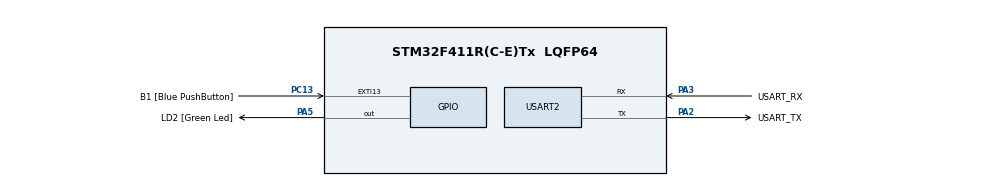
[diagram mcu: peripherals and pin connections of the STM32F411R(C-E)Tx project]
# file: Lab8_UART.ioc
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Mcu.Family=STM32F4
PC15-OSC32_OUT.Mode=LSE-External-Oscillator
RCC.CortexFreq_Value=84000000
PC13-ANTI_TAMP.GPIO_Label=B1 [Blue PushButton]
PA14.GPIO_Label=TCK
PH1\ -\ OSC_OUT.Mode=HSE-External-Clock-Source
RCC.APB1CLKDivider=RCC_HCLK_DIV2
PC14-OSC32_IN.Signal=RCC_OSC32_IN
NVIC.USART2_IRQn=true\:0\:0\:false\:false\:true\:true\:true
RCC.SYSCLKSource=RCC_SYSCLKSOURCE_PLLCLK
ProjectManager.StackSize=0x400
PA13.Signal=SYS_JTMS-SWDIO
PA3.Mode=Asynchronous
PH0\ -\ OSC_IN.Mode=HSE-External-Clock-Source
PH0\ -\ OSC_IN.Signal=RCC_OSC_IN
ProjectManager.TargetToolchain=STM32CubeIDE
RCC.HCLKFreq_Value=84000000
RCC.APB2TimFreq_Value=84000000
PC15-OSC32_OUT.Signal=RCC_OSC32_OUT
RCC.AHBFreq_Value=84000000
PA5.Signal=GPIO_Output
RCC.HSE_VALUE=8000000
PH1\ -\ OSC_OUT.Signal=RCC_OSC_OUT
board=NUCLEO-F411RE
PC13-ANTI_TAMP.Signal=GPXTI13
RCC.VCOOutputFreq_Value=336000000
RCC.APB2Freq_Value=84000000
PC14-OSC32_IN.Mode=LSE-External-Oscillator
PA14.Mode=Serial_Wire
PA13.Mode=Serial_Wire
Mcu.Name=STM32F411R(C-E)Tx
PA2.Signal=USART2_TX
PA13.GPIO_Label=TMS
RCC.FLatency-AdvancedSettings=FLASH_LATENCY_2
RCC.48MHZClocksFreq_Value=84000000
PB3.Signal=SYS_JTDO-SWO
RCC.SYSCLKFreq_VALUE=84000000
Mcu.Package=LQFP64
PA5.GPIO_Label=LD2 [Green Led]
USART2.VirtualMode=VM_ASYNC
PC13-ANTI_TAMP.GPIO_ModeDefaultEXTI=GPIO_MODE_IT_FALLING
PA2.GPIO_Label=USART_TX
PA14.Signal=SYS_JTCK-SWCLK
ProjectManager.HeapSize=0x200
RCC.HSI_VALUE=16000000
RCC.PLLP=RCC_PLLP_DIV4
NVIC.PriorityGroup=NVIC_PRIORITYGROUP_0
RCC.PLLN=336
RCC.APB1TimFreq_Value=84000000
PA2.Mode=Asynchronous
RCC.APB1Freq_Value=42000000
PA3.GPIO_Label=USART_RX
PA3.Signal=USART2_RX
PB3.GPIO_Label=SWO

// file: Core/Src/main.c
/* USER CODE BEGIN Header */
/**
 ******************************************************************************
 * @file           : main.c
 * @brief          : Main program body
 ******************************************************************************
 * @attention
 *
 * <h2><center>&copy; Copyright (c) 2021 STMicroelectronics.
 * All rights reserved.</center></h2>
 *
 * This software component is licensed by ST under BSD 3-Clause license,
 * the "License"; You may not use this file except in compliance with the
 * License. You may obtain a copy of the License at:
 *                        opensource.org/licenses/BSD-3-Clause
 *
 ******************************************************************************
 */
/* USER CODE END Header */
#include "main.h"

/* USER CODE BEGIN Includes */
#include <stdio.h>
#include <string.h>
/* USER CODE END Includes */

UART_HandleTypeDef huart2;

/* USER CODE BEGIN PV */
char TxDataBuffer[32] = { 0 };
char RxDataBuffer[32] = { 0 };
typedef enum {
	Start 		= 0,
	wait 		= 9,
	Mode0 		= 10,
	wait0 		= 19,
	Mode1 		= 20,
	wait1 		= 29,
	SpeedUp 	= 11,
	SpeedDown 	= 12,
	TurnSwitch  = 13
} Mode;

uint8_t ButtonState[2] 	 	= {0};
uint8_t ButtonIsPress[2]	= {0};
int LEDfrequency 			= 1;
uint8_t LEDIsOn 			= 0;
uint32_t LEDTimestamp 		= 0;

/* USER CODE END PV */

void SystemClock_Config(void);
static void MX_GPIO_Init(void);
static void MX_USART2_UART_Init(void);
/* USER CODE BEGIN PFP */
void UARTRecieveAndResponsePolling();
int16_t UARTRecieveIT();
/* USER CODE END PFP */

int main(void) {

	/* MCU Configuration--------------------------------------------------------*/

	/* Reset of all peripherals, Initializes the Flash interface and the Systick. */
	HAL_Init();

	/* Configure the system clock */
	SystemClock_Config();

	/* Initialize all configured peripherals */
	MX_GPIO_Init();
	MX_USART2_UART_Init();
	/* USER CODE BEGIN 2 */
	{ // for local parameter --> more memoriesa
//		char temp[] = "HELLO WORLD\r\n please type something to test UART\r\n";
//		HAL_UART_Transmit(&huart2, (uint8_t*) temp, strlen(temp), 1000);
	}
	int State = Start;
//	printf("Start");
	/* USER CODE END 2 */

	/* Infinite loop */
	/* USER CODE BEGIN WHILE */
	while (1) {
		HAL_UART_Receive_IT(&huart2, (uint8_t*) RxDataBuffer, 32);

		/*Method 2 W/ 1 Char Received*/
		int16_t inputchar = UARTRecieveIT();
		if (inputchar != -1) {

			sprintf(TxDataBuffer, "ReceivedChar:[%c]\r\n", inputchar);
			HAL_UART_Transmit(&huart2, (uint8_t*) TxDataBuffer,strlen(TxDataBuffer), 1000);
		}// for check by looking at monitor

//----------------------------------------- Display LED ------------------------------------------------
		if(LEDIsOn == 0 || LEDfrequency <= 0){
			HAL_GPIO_WritePin(LD2_GPIO_Port, LD2_Pin, 0);
		}
		else{
			if(HAL_GetTick() - LEDTimestamp >= (500/LEDfrequency)){
				LEDTimestamp = HAL_GetTick();
				HAL_GPIO_TogglePin(LD2_GPIO_Port, LD2_Pin);
			}
		}
//----------------------------------------- Display Button State ---------------------------------------
		ButtonState[0] = HAL_GPIO_ReadPin(B1_GPIO_Port, B1_Pin);
		if(ButtonState[0] == 1 && ButtonState[1] == 1)
		{
			ButtonIsPress[0] = 1;
		}
		else
		{
			ButtonIsPress[0] = 0;
		}
//--------------------------------------------- Home page ---------------------------------------------
		switch(State){
			case Start:
				sprintf(TxDataBuffer, "----Home Page----\n\r");
				HAL_UART_Transmit(&huart2, (uint8_t*) TxDataBuffer,strlen(TxDataBuffer), 100);
				sprintf(TxDataBuffer, "Press 0: control LED \n\r");
				HAL_UART_Transmit(&huart2, (uint8_t*) TxDataBuffer,strlen(TxDataBuffer), 100);
				sprintf(TxDataBuffer, "Press 1: button status \n\n\r");
				HAL_UART_Transmit(&huart2, (uint8_t*) TxDataBuffer,strlen(TxDataBuffer), 100);
				State = wait;
				break;
			case wait:
				switch(inputchar){
				case -1:
					break;
				case '0':
					State = Mode0;
					break;
				case '1':
					State = Mode1;
					break;
				default:
					sprintf(TxDataBuffer, "press only [0] or [1] \n\n\r");
					HAL_UART_Transmit(&huart2, (uint8_t*) TxDataBuffer,strlen(TxDataBuffer), 100);
					State = wait;
					break;
				}
				break;
//--------------------------------------------- LED Control ---------------------------------------------
			case Mode0:
				sprintf(TxDataBuffer, "Mode0: LEDControl\n\r");
				HAL_UART_Transmit(&huart2, (uint8_t*) TxDataBuffer,strlen(TxDataBuffer), 100);
				sprintf(TxDataBuffer, "Press a: +1 Hz \n\r");
				HAL_UART_Transmit(&huart2, (uint8_t*) TxDataBuffer,strlen(TxDataBuffer), 100);
				sprintf(TxDataBuffer, "Press s: -1 Hz \n\r");
				HAL_UART_Transmit(&huart2, (uint8_t*) TxDataBuffer,strlen(TxDataBuffer), 100);
				sprintf(TxDataBuffer, "Press d: turn on-off LED \n\r");
				HAL_UART_Transmit(&huart2, (uint8_t*) TxDataBuffer,strlen(TxDataBuffer), 100);
				sprintf(TxDataBuffer, "Press x: back to home page \n\n\r");
				HAL_UART_Transmit(&huart2, (uint8_t*) TxDataBuffer,strlen(TxDataBuffer), 100);
				State = wait0;
				break;
			case wait0:
				switch(inputchar){
					case -1:
						break;
					case 'a':
						LEDfrequency += 1;
						sprintf(TxDataBuffer, "LED blink at %d Hz\r\n\n", LEDfrequency);
						HAL_UART_Transmit(&huart2, (uint8_t*) TxDataBuffer,strlen(TxDataBuffer), 1000);
						break;
					case 's':
						LEDfrequency -= 1;
						if(LEDfrequency < 0){
							sprintf(TxDataBuffer, "LED off already, please press [a] to increase frequency\r\n\n", LEDfrequency);
							HAL_UART_Transmit(&huart2, (uint8_t*) TxDataBuffer,strlen(TxDataBuffer), 1000);
							LEDfrequency = 0;
						}
						else{
							sprintf(TxDataBuffer, "LED blink at %d Hz\r\n\n", LEDfrequency);
							HAL_UART_Transmit(&huart2, (uint8_t*) TxDataBuffer,strlen(TxDataBuffer), 1000);
						}
						break;
					case 'd':
						if(LEDIsOn == 1){
							LEDIsOn = 0;
							sprintf(TxDataBuffer, "(turn off)LED blink at 0 Hz\r\n\n");
							HAL_UART_Transmit(&huart2, (uint8_t*) TxDataBuffer,strlen(TxDataBuffer), 1000);
						}
						else{
							LEDIsOn = 1;
							sprintf(TxDataBuffer, "(turn on)LED blink at %d Hz\r\n\n", LEDfrequency);
							HAL_UART_Transmit(&huart2, (uint8_t*) TxDataBuffer,strlen(TxDataBuffer), 1000);
						}

						break;
					case 'x':
						State = Start;
						break;
					default:
						sprintf(TxDataBuffer, "press only [a],[s],[d] or [x] \n\n\r");
						HAL_UART_Transmit(&huart2, (uint8_t*) TxDataBuffer,strlen(TxDataBuffer), 100);
						State = wait0;
						break;
					}
				break;
//--------------------------------------------- Button Status ---------------------------------------------
			case Mode1:
				sprintf(TxDataBuffer, "Mode1: ButtonStatus\n\r");
				HAL_UART_Transmit(&huart2, (uint8_t*) TxDataBuffer,strlen(TxDataBuffer), 100);
				sprintf(TxDataBuffer, "Press blue button on board: Change status \n\r");
				HAL_UART_Transmit(&huart2, (uint8_t*) TxDataBuffer,strlen(TxDataBuffer), 100);
				sprintf(TxDataBuffer, "Press x: back to home page \n\n\r");
				HAL_UART_Transmit(&huart2, (uint8_t*) TxDataBuffer,strlen(TxDataBuffer), 100);
				State = wait1;
				break;
			case wait1:
				if(ButtonIsPress[0] != ButtonIsPress[1])
				{
					if(ButtonIsPress[0] == 0)
					{
						sprintf(TxDataBuffer, "Yep, Button is pressed \n\n\r");
						HAL_UART_Transmit(&huart2, (uint8_t*) TxDataBuffer,strlen(TxDataBuffer), 100);
					}
					else
					{
						sprintf(TxDataBuffer, "Nope, Button is not pressed \n\n\r");
						HAL_UART_Transmit(&huart2, (uint8_t*) TxDataBuffer,strlen(TxDataBuffer), 100);
					}
				}
				switch(inputchar){
					case -1:
						break;
					case 'x':
						State = Start;
						break;
					default:
						sprintf(TxDataBuffer, "press only [x]\n\n\r");
						HAL_UART_Transmit(&huart2, (uint8_t*) TxDataBuffer,strlen(TxDataBuffer), 100);
						State = wait1;
						break;
					}
				break;
			default:
				State = Start;
			break;
		}
		ButtonIsPress[1] = ButtonIsPress[0];
		ButtonState[1] = ButtonState[0];
	}
		/* USER CODE END WHILE */

}

void SystemClock_Config(void) {
RCC_OscInitTypeDef RCC_OscInitStruct = { 0 };
RCC_ClkInitTypeDef RCC_ClkInitStruct = { 0 };

/** Configure the main internal regulator output voltage
 */
__HAL_RCC_PWR_CLK_ENABLE();
__HAL_PWR_VOLTAGESCALING_CONFIG(PWR_REGULATOR_VOLTAGE_SCALE1);
/** Initializes the RCC Oscillators according to the specified parameters
 * in the RCC_OscInitTypeDef structure.
 */
RCC_OscInitStruct.OscillatorType = RCC_OSCILLATORTYPE_HSI;
RCC_OscInitStruct.HSIState = RCC_HSI_ON;
RCC_OscInitStruct.HSICalibrationValue = RCC_HSICALIBRATION_DEFAULT;
RCC_OscInitStruct.PLL.PLLState = RCC_PLL_ON;
RCC_OscInitStruct.PLL.PLLSource = RCC_PLLSOURCE_HSI;
RCC_OscInitStruct.PLL.PLLM = 16;
RCC_OscInitStruct.PLL.PLLN = 336;
RCC_OscInitStruct.PLL.PLLP = RCC_PLLP_DIV4;
RCC_OscInitStruct.PLL.PLLQ = 4;
if (HAL_RCC_OscConfig(&RCC_OscInitStruct) != HAL_OK) {
	Error_Handler();
}
/** Initializes the CPU, AHB and APB buses clocks
 */
RCC_ClkInitStruct.ClockType = RCC_CLOCKTYPE_HCLK | RCC_CLOCKTYPE_SYSCLK
		| RCC_CLOCKTYPE_PCLK1 | RCC_CLOCKTYPE_PCLK2;
RCC_ClkInitStruct.SYSCLKSource = RCC_SYSCLKSOURCE_PLLCLK;
RCC_ClkInitStruct.AHBCLKDivider = RCC_SYSCLK_DIV1;
RCC_ClkInitStruct.APB1CLKDivider = RCC_HCLK_DIV2;
RCC_ClkInitStruct.APB2CLKDivider = RCC_HCLK_DIV1;

if (HAL_RCC_ClockConfig(&RCC_ClkInitStruct, FLASH_LATENCY_2) != HAL_OK) {
	Error_Handler();
}
}

static void MX_USART2_UART_Init(void) {

huart2.Instance = USART2;
huart2.Init.BaudRate = 115200;
huart2.Init.WordLength = UART_WORDLENGTH_8B;
huart2.Init.StopBits = UART_STOPBITS_1;
huart2.Init.Parity = UART_PARITY_NONE;
huart2.Init.Mode = UART_MODE_TX_RX;
huart2.Init.HwFlowCtl = UART_HWCONTROL_NONE;
huart2.Init.OverSampling = UART_OVERSAMPLING_16;
if (HAL_UART_Init(&huart2) != HAL_OK) {
	Error_Handler();
}

}

static void MX_GPIO_Init(void) {
GPIO_InitTypeDef GPIO_InitStruct = { 0 };

/* GPIO Ports Clock Enable */
__HAL_RCC_GPIOC_CLK_ENABLE();
__HAL_RCC_GPIOH_CLK_ENABLE();
__HAL_RCC_GPIOA_CLK_ENABLE();
__HAL_RCC_GPIOB_CLK_ENABLE();

/*Configure GPIO pin Output Level */
HAL_GPIO_WritePin(LD2_GPIO_Port, LD2_Pin, GPIO_PIN_RESET);

/*Configure GPIO pin : B1_Pin */
GPIO_InitStruct.Pin = B1_Pin;
GPIO_InitStruct.Mode = GPIO_MODE_IT_FALLING;
GPIO_InitStruct.Pull = GPIO_NOPULL;
HAL_GPIO_Init(B1_GPIO_Port, &GPIO_InitStruct);

/*Configure GPIO pin : LD2_Pin */
GPIO_InitStruct.Pin = LD2_Pin;
GPIO_InitStruct.Mode = GPIO_MODE_OUTPUT_PP;
GPIO_InitStruct.Pull = GPIO_NOPULL;
GPIO_InitStruct.Speed = GPIO_SPEED_FREQ_LOW;
HAL_GPIO_Init(LD2_GPIO_Port, &GPIO_InitStruct);

}

/* USER CODE BEGIN 4 */
void UARTRecieveAndResponsePolling() {
char Recieve[32] = { 0 };

HAL_UART_Receive(&huart2, (uint8_t*) Recieve, 4, 1000);

sprintf(TxDataBuffer, "Received:[%s]\r\n", Recieve);
HAL_UART_Transmit(&huart2, (uint8_t*) TxDataBuffer, strlen(TxDataBuffer), 1000);

}

int16_t UARTRecieveIT() {
static uint32_t dataPos = 0;
int16_t data = -1;
if (huart2.RxXferSize - huart2.RxXferCount != dataPos) {
	data = RxDataBuffer[dataPos];
	dataPos = (dataPos + 1) % huart2.RxXferSize;
}
return data;
}

void HAL_UART_RxCpltCallback(UART_HandleTypeDef *huart) {
sprintf(TxDataBuffer, "Received:[%s]\r\n", RxDataBuffer);
HAL_UART_Transmit_IT(&huart2, (uint8_t*) TxDataBuffer, strlen(TxDataBuffer));
}
/* USER CODE END 4 */

void Error_Handler(void) {
__disable_irq();
while (1) {
}
}

/************************ (C) COPYRIGHT STMicroelectronics *****END OF FILE****/
